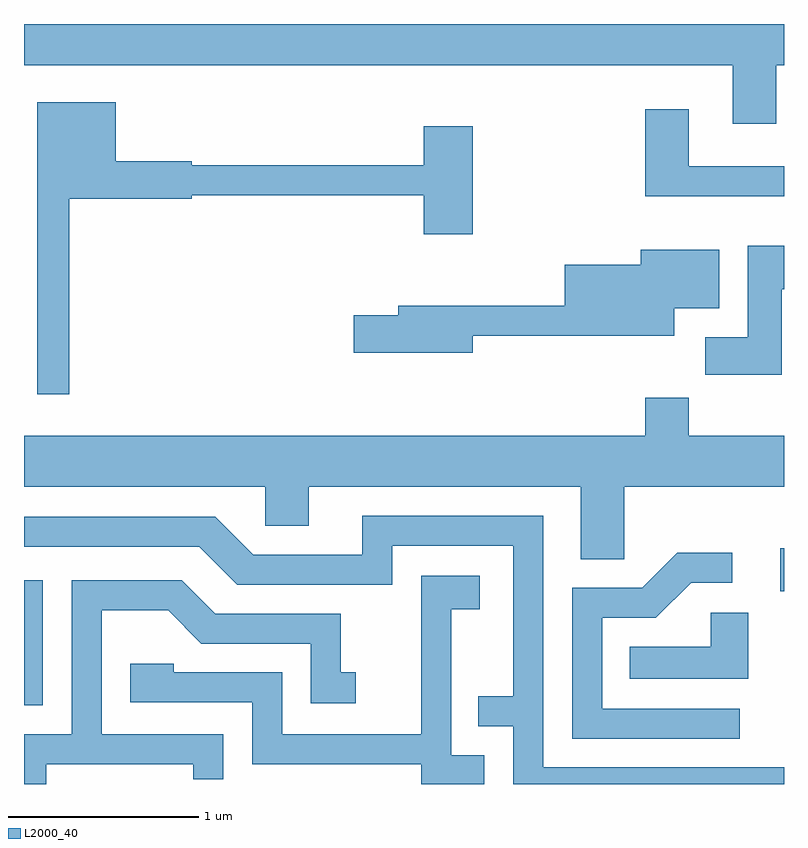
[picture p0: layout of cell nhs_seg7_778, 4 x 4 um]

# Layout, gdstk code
import gdstk
lib = gdstk.Library(unit=1e-6, precision=1e-09)
def R(c, l, rs):  # rectangles x0, y0, x1, y1
    for r in rs: c.add(gdstk.rectangle(r[:2], r[2:], *l))
def P(c, l, *ps):  # polygons
    for p in ps: c.add(gdstk.Polygon(p, *l))
L2000_40 = (2000, 40)

nhs_seg7_778 = lib.new_cell('nhs_seg7_778')
R(nhs_seg7_778, L2000_40, [(207.611,1768.666,207.709,1769.324), (211.591,1769.266,211.611,1769.494)])
P(nhs_seg7_778, L2000_40, [(211.569,1772.036),(211.611,1772.036),(211.611,1772.252),(207.611,1772.252),(207.611,1772.036),(211.341,1772.036),(211.341,1771.726),(211.569,1771.726)],
  [(207.849,1771.331),(208.494,1771.331),(208.494,1771.351),(209.716,1771.351),(209.716,1771.146),(209.974,1771.146),(209.974,1771.714),(209.716,1771.714),(209.716,1771.509),(208.494,1771.509),(208.494,1771.529),(208.094,1771.529),(208.094,1771.839),(207.681,1771.839),(207.681,1770.303),(207.849,1770.303)],
  [(211.611,1771.504),(211.109,1771.504),(211.109,1771.804),(210.881,1771.804),(210.881,1771.346),(211.611,1771.346)],
  [(211.599,1770.856),(211.611,1770.856),(211.611,1771.084),(211.421,1771.084),(211.421,1770.604),(211.196,1770.604),(211.196,1770.406),(211.599,1770.406)],
  [(209.974,1770.611),(211.034,1770.611),(211.034,1770.756),(211.269,1770.756),(211.269,1771.064),(210.856,1771.064),(210.856,1770.984),(210.456,1770.984),(210.456,1770.769),(209.581,1770.769),(209.581,1770.719),(209.346,1770.719),(209.346,1770.521),(209.974,1770.521)],
  [(210.769,1769.816),(211.611,1769.816),(211.611,1770.084),(211.109,1770.084),(211.109,1770.284),(210.881,1770.284),(210.881,1770.084),(207.611,1770.084),(207.611,1769.816),(208.881,1769.816),(208.881,1769.611),(209.109,1769.611),(209.109,1769.816),(210.541,1769.816),(210.541,1769.436),(210.769,1769.436)],
  [(211.611,1768.339),(210.344,1768.339),(210.344,1769.664),(209.391,1769.664),(209.391,1769.459),(208.817,1769.459),(208.617,1769.659),(207.611,1769.659),(207.611,1769.501),(208.534,1769.501),(208.734,1769.301),(209.549,1769.301),(209.549,1769.506),(210.186,1769.506),(210.186,1768.714),(210.003,1768.714),(210.003,1768.556),(210.186,1768.556),(210.186,1768.252),(211.611,1768.252)],
  [(211.378,1768.649),(210.654,1768.649),(210.654,1769.126),(210.937,1769.126),(211.122,1769.311),(211.338,1769.311),(211.338,1769.469),(211.049,1769.469),(210.864,1769.284),(210.496,1769.284),(210.496,1768.491),(211.378,1768.491)],
  [(210.034,1768.404),(209.859,1768.404),(209.859,1769.171),(210.009,1769.171),(210.009,1769.349),(209.701,1769.349),(209.701,1768.514),(208.969,1768.514),(208.969,1768.839),(208.399,1768.839),(208.399,1768.884),(208.171,1768.884),(208.171,1768.681),(208.811,1768.681),(208.811,1768.356),(209.701,1768.356),(209.701,1768.252),(210.034,1768.252)],
  [(207.729,1768.356),(208.501,1768.356),(208.501,1768.278),(208.659,1768.278),(208.659,1768.514),(208.019,1768.514),(208.019,1769.166),(208.369,1769.166),(208.544,1768.991),(209.121,1768.991),(209.121,1768.676),(209.358,1768.676),(209.358,1768.839),(209.279,1768.839),(209.279,1769.149),(208.617,1769.149),(208.442,1769.324),(207.861,1769.324),(207.861,1768.514),(207.611,1768.514),(207.611,1768.252),(207.729,1768.252)],
  [(211.424,1769.154),(211.226,1769.154),(211.226,1768.974),(210.798,1768.974),(210.798,1768.806),(211.424,1768.806)])

lib.write_gds('nhs_seg7_778.gds')
